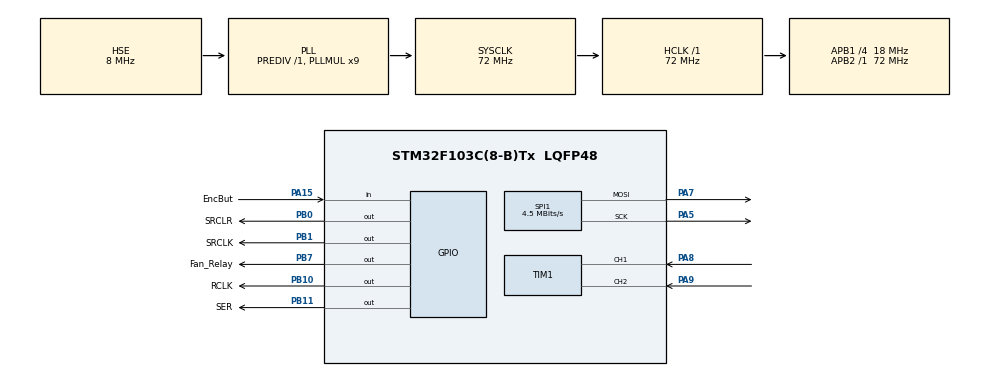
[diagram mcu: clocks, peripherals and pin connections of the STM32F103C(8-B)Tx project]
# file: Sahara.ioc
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Mcu.Family=STM32F1
Mcu.Name=STM32F103C(8-B)Tx
Mcu.Package=LQFP48
NVIC.PriorityGroup=NVIC_PRIORITYGROUP_4
NVIC.RTC_Alarm_IRQn=true\:0\:0\:false\:false\:true\:true\:true\:true
PA13.Mode=Serial_Wire
PA13.Signal=SYS_JTMS-SWDIO
PA14.Mode=Serial_Wire
PA14.Signal=SYS_JTCK-SWCLK
PA15.GPIO_Label=EncBut
PA15.Signal=GPIO_Input
PA5.Mode=TX_Only_Simplex_Unidirect_Master
PA5.Signal=SPI1_SCK
PA7.Mode=TX_Only_Simplex_Unidirect_Master
PA7.Signal=SPI1_MOSI
PA8.Signal=S_TIM1_CH1
PA9.Signal=S_TIM1_CH2
PB0.GPIO_Label=SRCLR
PB0.PinState=GPIO_PIN_SET
PB0.Signal=GPIO_Output
PB1.GPIO_Label=SRCLK
PB1.Signal=GPIO_Output
PB10.GPIO_Label=RCLK
PB10.PinState=GPIO_PIN_SET
PB10.Signal=GPIO_Output
PB11.GPIO_Label=SER
PB11.PinState=GPIO_PIN_RESET
PB11.Signal=GPIO_Output
PB7.GPIO_Label=Fan_Relay
PB7.Signal=GPIO_Output
PD0-OSC_IN.Mode=HSE-External-Oscillator
PD0-OSC_IN.Signal=RCC_OSC_IN
PD1-OSC_OUT.Mode=HSE-External-Oscillator
PD1-OSC_OUT.Signal=RCC_OSC_OUT
ProjectManager.HeapSize=0x200
ProjectManager.StackSize=0x400
ProjectManager.TargetToolchain=STM32CubeIDE
RCC.AHBFreq_Value=72000000
RCC.APB1CLKDivider=RCC_HCLK_DIV4
RCC.APB1Freq_Value=18000000
RCC.APB1TimFreq_Value=36000000
RCC.APB2Freq_Value=72000000
RCC.APB2TimFreq_Value=72000000
RCC.HCLKFreq_Value=72000000
RCC.PLLMUL=RCC_PLL_MUL9
RCC.PLLSourceVirtual=RCC_PLLSOURCE_HSE
RCC.SYSCLKFreq_VALUE=72000000
RCC.SYSCLKSource=RCC_SYSCLKSOURCE_PLLCLK
RCC.USBFreq_Value=72000000
RTC.Format=RTC_FORMAT_BIN
SH.S_TIM1_CH1.0=TIM1_CH1,Encoder_Interface
SH.S_TIM1_CH2.0=TIM1_CH2,Encoder_Interface
SPI1.BaudRatePrescaler=SPI_BAUDRATEPRESCALER_16
SPI1.CLKPolarity=SPI_POLARITY_HIGH
SPI1.CalculateBaudRate=4.5 MBits/s
SPI1.Direction=SPI_DIRECTION_2LINES
SPI1.FirstBit=SPI_FIRSTBIT_LSB
SPI1.Mode=SPI_MODE_MASTER
SPI1.VirtualType=VM_MASTER
TIM1.EncoderMode=TIM_ENCODERMODE_TI12
TIM1.IC1Filter=10
TIM1.IC2Filter=10
VP_RTC_VS_RTC_Activate.Mode=RTC_Enabled
board=custom

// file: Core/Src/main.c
/* USER CODE BEGIN Header */
/**
  ******************************************************************************
  * @file           : main.c
  * @brief          : Main program body
  ******************************************************************************
  * @attention
  *
  * Copyright (c) 2024 STMicroelectronics.
  * All rights reserved.
  *
  * This software is licensed under terms that can be found in the LICENSE file
  * in the root directory of this software component.
  * If no LICENSE file comes with this software, it is provided AS-IS.
  *
  ******************************************************************************
  */
/* USER CODE END Header */
#include "main.h"

RTC_HandleTypeDef hrtc;

SPI_HandleTypeDef hspi1;

TIM_HandleTypeDef htim1;

/* USER CODE BEGIN PV */
uint8_t SegData[2] = {0x00,0x00};
uint8_t EncTrig = 0;
uint8_t count = 0;
uint8_t  time = 0;
uint8_t timeState = 0;
uint32_t EncRaw = 0;
uint32_t OldEncRaw = 0;
static uint8_t Nums[] = {0b01110111,0b01000100,0b01101011,0b01101110,0b01011100,0b00111110,0b00111111,0b01100100,0b01111111,0b01111100};

/* USER CODE END PV */

void SystemClock_Config(void);
static void MX_GPIO_Init(void);
static void MX_SPI1_Init(void);
static void MX_TIM1_Init(void);
static void MX_RTC_Init(void);
/* USER CODE BEGIN PFP */

int isNthBitSet (unsigned char c, int n) {
    static unsigned char mask[] = {128, 64, 32, 16, 8, 4, 2, 1};
    return ((c & mask[n]) != 0);
}

void DisplayNumber(int num){
	num%=100;
	SegData[0]=Nums[num%10];
	SegData[1]=Nums[num/10];
	HAL_GPIO_WritePin(SRCLR_GPIO_Port, SRCLR_Pin, 0);
	HAL_GPIO_WritePin(SRCLR_GPIO_Port, SRCLR_Pin, 1);
	HAL_SPI_Transmit(&hspi1, SegData, 2, 100);
	HAL_GPIO_WritePin(RCLK_GPIO_Port, RCLK_Pin, 0);
	HAL_GPIO_WritePin(RCLK_GPIO_Port, RCLK_Pin, 1);

}

/* USER CODE END PFP */

/* USER CODE BEGIN 0 */

void set_alarm(uint8_t min)
{
    RTC_TimeTypeDef sTime = {0};  // Correct structure
    RTC_AlarmTypeDef sAlarm = {0}; // Keep sAlarm for setting alarm

    // Get the current time
    HAL_RTC_GetTime(&hrtc, &sTime, RTC_FORMAT_BIN);

    // Set the alarm time based on current time
    sAlarm.AlarmTime.Hours = sTime.Hours;
    sAlarm.AlarmTime.Minutes = sTime.Minutes;
    sAlarm.AlarmTime.Seconds = sTime.Seconds + min;
	sAlarm.Alarm = RTC_ALARM_A;
	if (HAL_RTC_SetAlarm_IT(&hrtc, &sAlarm, RTC_FORMAT_BIN) != HAL_OK)
	{
		Error_Handler();
	}
}

/* USER CODE END 0 */

int main(void)
{

  /* MCU Configuration--------------------------------------------------------*/

  /* Reset of all peripherals, Initializes the Flash interface and the Systick. */
  HAL_Init();

  /* Configure the system clock */
  SystemClock_Config();

  /* Initialize all configured peripherals */
  MX_GPIO_Init();
  MX_SPI1_Init();
  MX_TIM1_Init();
  MX_RTC_Init();
  /* USER CODE BEGIN 2 */
  HAL_TIM_Encoder_Start(&htim1, TIM_CHANNEL_ALL);
  __HAL_TIM_SET_COUNTER(&htim1, 32767);
  EncRaw = __HAL_TIM_GET_COUNTER(&htim1);
  OldEncRaw=EncRaw;

  /* USER CODE END 2 */

  /* Infinite loop */
  /* USER CODE BEGIN WHILE */
  HAL_Delay(1000);
  while (1)
  {
	  if(timeState==0){
	  HAL_GPIO_WritePin(GPIOB, Fan_Relay_Pin, 0);
	  EncRaw = __HAL_TIM_GET_COUNTER(&htim1);
	  if (EncRaw>=3+OldEncRaw){
		  count+=1;
		  OldEncRaw=EncRaw;
	  }
	  if (EncRaw<=OldEncRaw-3){
		  if(count!=0){
			  count-=1;
		  }
		  OldEncRaw=EncRaw;

	  }
	  DisplayNumber(count);
	  if (HAL_GPIO_ReadPin(EncBut_GPIO_Port, EncBut_Pin)==1){
		  timeState=1;
		  HAL_GPIO_WritePin(GPIOB, Fan_Relay_Pin, 1);
		  time = count;
		  set_alarm(1);
	  }
	  }

    /* USER CODE END WHILE */

  }
}

void SystemClock_Config(void)
{
  RCC_OscInitTypeDef RCC_OscInitStruct = {0};
  RCC_ClkInitTypeDef RCC_ClkInitStruct = {0};
  RCC_PeriphCLKInitTypeDef PeriphClkInit = {0};

  /** Initializes the RCC Oscillators according to the specified parameters
  * in the RCC_OscInitTypeDef structure.
  */
  RCC_OscInitStruct.OscillatorType = RCC_OSCILLATORTYPE_LSI|RCC_OSCILLATORTYPE_HSE;
  RCC_OscInitStruct.HSEState = RCC_HSE_ON;
  RCC_OscInitStruct.HSEPredivValue = RCC_HSE_PREDIV_DIV1;
  RCC_OscInitStruct.HSIState = RCC_HSI_ON;
  RCC_OscInitStruct.LSIState = RCC_LSI_ON;
  RCC_OscInitStruct.PLL.PLLState = RCC_PLL_ON;
  RCC_OscInitStruct.PLL.PLLSource = RCC_PLLSOURCE_HSE;
  RCC_OscInitStruct.PLL.PLLMUL = RCC_PLL_MUL9;
  if (HAL_RCC_OscConfig(&RCC_OscInitStruct) != HAL_OK)
  {
    Error_Handler();
  }

  /** Initializes the CPU, AHB and APB buses clocks
  */
  RCC_ClkInitStruct.ClockType = RCC_CLOCKTYPE_HCLK|RCC_CLOCKTYPE_SYSCLK
                              |RCC_CLOCKTYPE_PCLK1|RCC_CLOCKTYPE_PCLK2;
  RCC_ClkInitStruct.SYSCLKSource = RCC_SYSCLKSOURCE_PLLCLK;
  RCC_ClkInitStruct.AHBCLKDivider = RCC_SYSCLK_DIV1;
  RCC_ClkInitStruct.APB1CLKDivider = RCC_HCLK_DIV4;
  RCC_ClkInitStruct.APB2CLKDivider = RCC_HCLK_DIV1;

  if (HAL_RCC_ClockConfig(&RCC_ClkInitStruct, FLASH_LATENCY_2) != HAL_OK)
  {
    Error_Handler();
  }
  PeriphClkInit.PeriphClockSelection = RCC_PERIPHCLK_RTC;
  PeriphClkInit.RTCClockSelection = RCC_RTCCLKSOURCE_LSI;
  if (HAL_RCCEx_PeriphCLKConfig(&PeriphClkInit) != HAL_OK)
  {
    Error_Handler();
  }
}

static void MX_RTC_Init(void)
{

  /** Initialize RTC Only
  */
  hrtc.Instance = RTC;
  hrtc.Init.AsynchPrediv = RTC_AUTO_1_SECOND;
  hrtc.Init.OutPut = RTC_OUTPUTSOURCE_ALARM;
  if (HAL_RTC_Init(&hrtc) != HAL_OK)
  {
    Error_Handler();
  }

}

static void MX_SPI1_Init(void)
{

  /* SPI1 parameter configuration*/
  hspi1.Instance = SPI1;
  hspi1.Init.Mode = SPI_MODE_MASTER;
  hspi1.Init.Direction = SPI_DIRECTION_2LINES;
  hspi1.Init.DataSize = SPI_DATASIZE_8BIT;
  hspi1.Init.CLKPolarity = SPI_POLARITY_HIGH;
  hspi1.Init.CLKPhase = SPI_PHASE_1EDGE;
  hspi1.Init.NSS = SPI_NSS_SOFT;
  hspi1.Init.BaudRatePrescaler = SPI_BAUDRATEPRESCALER_16;
  hspi1.Init.FirstBit = SPI_FIRSTBIT_LSB;
  hspi1.Init.TIMode = SPI_TIMODE_DISABLE;
  hspi1.Init.CRCCalculation = SPI_CRCCALCULATION_DISABLE;
  hspi1.Init.CRCPolynomial = 10;
  if (HAL_SPI_Init(&hspi1) != HAL_OK)
  {
    Error_Handler();
  }

}

static void MX_TIM1_Init(void)
{

  TIM_Encoder_InitTypeDef sConfig = {0};
  TIM_MasterConfigTypeDef sMasterConfig = {0};

  htim1.Instance = TIM1;
  htim1.Init.Prescaler = 0;
  htim1.Init.CounterMode = TIM_COUNTERMODE_UP;
  htim1.Init.Period = 65535;
  htim1.Init.ClockDivision = TIM_CLOCKDIVISION_DIV1;
  htim1.Init.RepetitionCounter = 0;
  htim1.Init.AutoReloadPreload = TIM_AUTORELOAD_PRELOAD_DISABLE;
  sConfig.EncoderMode = TIM_ENCODERMODE_TI12;
  sConfig.IC1Polarity = TIM_ICPOLARITY_RISING;
  sConfig.IC1Selection = TIM_ICSELECTION_DIRECTTI;
  sConfig.IC1Prescaler = TIM_ICPSC_DIV1;
  sConfig.IC1Filter = 10;
  sConfig.IC2Polarity = TIM_ICPOLARITY_RISING;
  sConfig.IC2Selection = TIM_ICSELECTION_DIRECTTI;
  sConfig.IC2Prescaler = TIM_ICPSC_DIV1;
  sConfig.IC2Filter = 10;
  if (HAL_TIM_Encoder_Init(&htim1, &sConfig) != HAL_OK)
  {
    Error_Handler();
  }
  sMasterConfig.MasterOutputTrigger = TIM_TRGO_RESET;
  sMasterConfig.MasterSlaveMode = TIM_MASTERSLAVEMODE_DISABLE;
  if (HAL_TIMEx_MasterConfigSynchronization(&htim1, &sMasterConfig) != HAL_OK)
  {
    Error_Handler();
  }

}

static void MX_GPIO_Init(void)
{
  GPIO_InitTypeDef GPIO_InitStruct = {0};

  /* GPIO Ports Clock Enable */
  __HAL_RCC_GPIOD_CLK_ENABLE();
  __HAL_RCC_GPIOA_CLK_ENABLE();
  __HAL_RCC_GPIOB_CLK_ENABLE();

  /*Configure GPIO pin Output Level */
  HAL_GPIO_WritePin(GPIOB, SRCLR_Pin|RCLK_Pin, GPIO_PIN_SET);

  /*Configure GPIO pin Output Level */
  HAL_GPIO_WritePin(GPIOB, SRCLK_Pin|SER_Pin|Fan_Relay_Pin, GPIO_PIN_RESET);

  /*Configure GPIO pins : SRCLR_Pin SRCLK_Pin RCLK_Pin SER_Pin
                           Fan_Relay_Pin */
  GPIO_InitStruct.Pin = SRCLR_Pin|SRCLK_Pin|RCLK_Pin|SER_Pin
                          |Fan_Relay_Pin;
  GPIO_InitStruct.Mode = GPIO_MODE_OUTPUT_PP;
  GPIO_InitStruct.Pull = GPIO_NOPULL;
  GPIO_InitStruct.Speed = GPIO_SPEED_FREQ_LOW;
  HAL_GPIO_Init(GPIOB, &GPIO_InitStruct);

  /*Configure GPIO pin : EncBut_Pin */
  GPIO_InitStruct.Pin = EncBut_Pin;
  GPIO_InitStruct.Mode = GPIO_MODE_INPUT;
  GPIO_InitStruct.Pull = GPIO_NOPULL;
  HAL_GPIO_Init(EncBut_GPIO_Port, &GPIO_InitStruct);

}

/* USER CODE BEGIN 4 */

void HAL_RTC_AlarmAEventCallback(RTC_HandleTypeDef *hrtc)
{

  DisplayNumber(time);
  if(time==0){
	  timeState=0;
  }else{
	  time-=1;
	  set_alarm(1);
  }

}
/* USER CODE END 4 */

void Error_Handler(void)
{
  __disable_irq();
  while (1)
  {
  }
}
